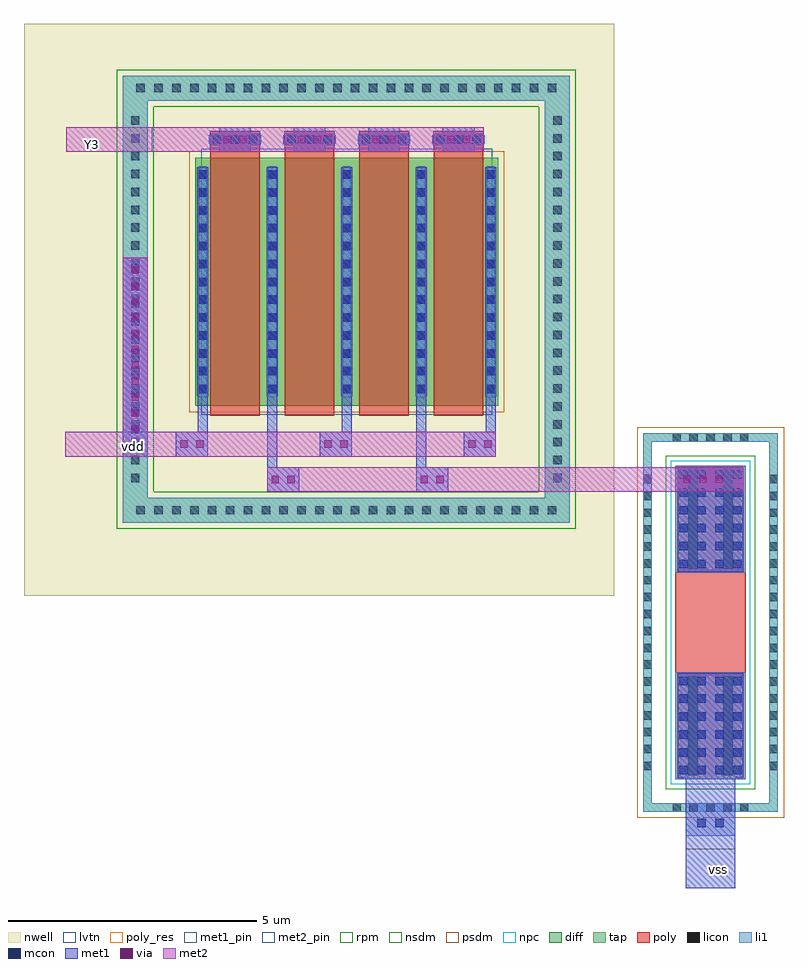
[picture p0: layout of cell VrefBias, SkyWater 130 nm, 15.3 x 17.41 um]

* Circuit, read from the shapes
.subckt VrefBias Y3 vdd vss
XM1 n1 Y3 vdd vdd sky130_fd_pr__pfet_01v8_lvt w=5 l=1 m=4
XR2 n1 vss vss sky130_fd_pr__res_high_po w=1.41 l=2
.ends

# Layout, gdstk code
from math import pi, radians
import gdstk
lib = gdstk.Library(unit=1e-6, precision=5e-09)
def R(c, l, rs):  # rectangles x0, y0, x1, y1
    for r in rs: c.add(gdstk.rectangle(r[:2], r[2:], *l))
def A(c, l, x, y, w, h, nx, ny, dx, dy):  # array of equal rectangles
    R(c, l, [(x+i*dx, y+j*dy, x+i*dx+w, y+j*dy+h) for i in range(nx) for j in range(ny)])
def P(c, l, *ps):  # polygons
    for p in ps: c.add(gdstk.Polygon(p, *l))
nwell = (64, 20)
diff = (65, 20)
tap = (65, 44)
poly_res = (66, 13)
poly = (66, 20)
licon = (66, 44)
li1 = (67, 20)
mcon = (67, 44)
met1_pin = (68, 16)
met1 = (68, 20)
via = (68, 44)
met2_pin = (69, 16)
met2 = (69, 20)
rpm = (86, 20)
nsdm = (93, 44)
psdm = (94, 20)
npc = (95, 20)
lvtn = (125, 44)

vias_gen = lib.new_cell('vias_gen')
R(vias_gen, met1, [(0,0,0.64,0.5)])
R(vias_gen, via, [(0.085,0.175,0.235,0.325), (0.405,0.175,0.555,0.325)])
R(vias_gen, met2, [(0,0,0.64,0.5)])

pfet = lib.new_cell('pfet')
R(pfet, nwell, [(-0.305,-0.38,6.405,5.72)])
R(pfet, diff, [(0,0,6.1,5)])
A(pfet, poly, 0.3, -0.2, 1, 5.4, 4, 1, 1.5, 0)
A(pfet, poly, 0.3, 5.2, 1, 0.33, 4, 1, 1.5, 0)
A(pfet, licon, 0.065, 0.255, 0.17, 0.17, 1, 13, 0, 0.36)
A(pfet, licon, 1.465, 0.255, 0.17, 0.17, 3, 13, 1.5, 0.36)
A(pfet, licon, 5.865, 0.255, 0.17, 0.17, 1, 13, 0, 0.36)
A(pfet, licon, 0.355, 5.28, 0.17, 0.17, 3, 1, 0.36, 0)
A(pfet, licon, 1.855, 5.28, 0.17, 0.17, 3, 1, 0.36, 0)
A(pfet, licon, 3.355, 5.28, 0.17, 0.17, 3, 1, 0.36, 0)
A(pfet, licon, 4.855, 5.28, 0.17, 0.17, 3, 1, 0.36, 0)
A(pfet, li1, 1.465, 0.175, 0.17, 4.65, 3, 1, 1.5, 0)
A(pfet, li1, 0.275, 5.28, 1.05, 0.17, 4, 1, 1.5, 0)
R(pfet, li1, [(0.065,0.175,0.235,4.825), (5.865,0.175,6.035,4.825)])
A(pfet, mcon, 0.065, 0.255, 0.17, 0.17, 1, 13, 0, 0.36)
A(pfet, mcon, 1.465, 0.255, 0.17, 0.17, 3, 13, 1.5, 0.36)
A(pfet, mcon, 5.865, 0.255, 0.17, 0.17, 1, 13, 0, 0.36)
A(pfet, mcon, 0.355, 5.28, 0.17, 0.17, 3, 1, 0.36, 0)
A(pfet, mcon, 1.855, 5.28, 0.17, 0.17, 3, 1, 0.36, 0)
A(pfet, mcon, 3.355, 5.28, 0.17, 0.17, 3, 1, 0.36, 0)
A(pfet, mcon, 4.855, 5.28, 0.17, 0.17, 3, 1, 0.36, 0)
A(pfet, met1, 1.435, 0.195, 0.23, 4.61, 3, 1, 1.5, 0)
A(pfet, met1, 0.295, 5.25, 1.01, 0.23, 4, 1, 1.5, 0)
R(pfet, met1, [(0.035,0.195,0.265,4.805), (5.835,0.195,6.065,4.805)])
R(pfet, psdm, [(-0.125,-0.125,6.225,5.125)])
A(pfet, npc, 0.29, 5.19, 1.02, 0.35, 4, 1, 1.5, 0)
R(pfet, lvtn, [(0.12,-0.18,5.98,5.18)])

vias_gen_3 = lib.new_cell('vias_gen$3')
R(vias_gen_3, li1, [(0,0,1,0.5)])
R(vias_gen_3, mcon, [(0.235,0.165,0.405,0.335), (0.595,0.165,0.765,0.335)])
R(vias_gen_3, met1, [(0,0,1,0.5)])

vias_gen_2 = lib.new_cell('vias_gen$2')
R(vias_gen_2, met1, [(0,0,1,0.5)])
A(vias_gen_2, via, 0.105, 0.175, 0.15, 0.15, 3, 1, 0.32, 0)
R(vias_gen_2, met2, [(0,0,1,0.5)])

res_poly = lib.new_cell('res_poly')
R(res_poly, tap, [(-1.355,-3.81,1.355,-3.64), (-1.355,-3.64,-1.185,3.64), (1.185,-3.64,1.355,3.64), (-1.355,3.64,1.355,3.81)])
R(res_poly, poly_res, [(-0.705,-1.06,0.705,1.06)])
R(res_poly, poly, [(-0.705,-3.16,0.705,3.16)])
A(res_poly, licon, -0.765, -3.81, 0.17, 0.17, 5, 2, 0.34, 7.45)
A(res_poly, licon, -1.355, -2.975, 0.17, 0.17, 1, 18, 0, 0.34)
A(res_poly, licon, 1.185, -2.975, 0.17, 0.17, 1, 18, 0, 0.34)
R(res_poly, licon, [(-0.45,-3.08,-0.26,-1.08), (0.26,-3.08,0.45,-1.08), (-0.45,1.08,-0.26,3.08), (0.26,1.08,0.45,3.08)])
R(res_poly, li1, [(-1.355,-3.81,1.355,-3.64), (-1.355,-3.64,-1.185,3.64), (1.185,-3.64,1.355,3.64), (-0.705,-3.16,0.705,-1), (-0.705,1,0.705,3.16), (-1.355,3.64,1.355,3.81)])
A(res_poly, mcon, -0.625, -3.06, 0.17, 0.17, 4, 6, 0.36, 0.36)
A(res_poly, mcon, -0.625, 1.095, 0.17, 0.17, 4, 6, 0.36, 0.36)
R(res_poly, met1, [(-0.655,-3.13,0.655,-1.025), (-0.655,1.025,0.655,3.13)])
R(res_poly, rpm, [(-0.905,-3.36,0.905,3.36)])
R(res_poly, psdm, [(-1.48,-3.935,1.48,3.935)])
R(res_poly, npc, [(-0.8,-3.255,0.8,3.255)])

guard_ring_gen = lib.new_cell('guard_ring_gen')
P(guard_ring_gen, tap, [(-0.5,-0.5),(-0.5,8),(0,8),(0,0),(8,0),(8,8),(-0.5,8),(-0.5,8.5),(8.5,8.5),(8.5,-0.5)])
A(guard_ring_gen, licon, -0.225, -0.335, 0.17, 0.17, 24, 2, 0.36, 8.5)
A(guard_ring_gen, licon, -0.335, 0.315, 0.17, 0.17, 1, 21, 0, 0.36)
A(guard_ring_gen, licon, 8.165, 0.315, 0.17, 0.17, 1, 21, 0, 0.36)
P(guard_ring_gen, li1, [(-0.5,-0.5),(-0.5,8),(0,8),(0,0),(8,0),(8,8),(-0.5,8),(-0.5,8.5),(8.5,8.5),(8.5,-0.5)])
P(guard_ring_gen, nsdm, [(-0.625,-0.625),(-0.625,7.875),(0.125,7.875),(0.125,0.125),(7.875,0.125),(7.875,7.875),(-0.625,7.875),(-0.625,8.625),(8.625,8.625),(8.625,-0.625)])

vias_gen_4 = lib.new_cell('vias_gen$4')
R(vias_gen_4, li1, [(0,0,4,0.5)])
A(vias_gen_4, mcon, 0.115, 0.165, 0.17, 0.17, 11, 1, 0.36, 0)
R(vias_gen_4, met1, [(0,0,4,0.5)])
A(vias_gen_4, via, 0.165, 0.175, 0.15, 0.15, 12, 1, 0.32, 0)
R(vias_gen_4, met2, [(0,0,4,0.5)])

vrefbias = lib.new_cell('VrefBias')
R(vrefbias, nwell, [(7.285,8.28,19.17,19.8)])
R(vrefbias, met1_pin, [(20.61,2.385,21.61,3.185)])
R(vrefbias, met2_pin, [(8.12,11.08,9.9,11.58), (8.14,17.215,9.865,17.715)])
vrefbias.add(gdstk.FlexPath([(16.545,17.465),(10.175,17.465),(8.14,17.465)], 0.5, ends="flush", simple_path=True, layer=69, datatype=20))  # met2
vrefbias.add(gdstk.FlexPath([(21.765,10.62),(12.42,10.62),(12.185,10.62)], 0.5, ends="flush", simple_path=True, layer=69, datatype=20))  # met2
vrefbias.add(gdstk.FlexPath([(16.785,11.33),(8.12,11.33)], 0.5, ends="flush", simple_path=True, layer=69, datatype=20))  # met2
vrefbias.add(gdstk.FlexPath([(10.885,16.905),(10.885,11.08)], 0.2, ends="flush", simple_path=True, layer=68, datatype=20))  # met1
vrefbias.add(gdstk.FlexPath([(13.785,16.905),(13.785,11.08)], 0.2, ends="flush", simple_path=True, layer=68, datatype=20))  # met1
vrefbias.add(gdstk.FlexPath([(21.11,6.25),(21.11,2.385)], 1, ends="flush", simple_path=True, layer=68, datatype=20))  # met1
vrefbias.add(gdstk.FlexPath([(16.685,16.905),(16.685,11.08)], 0.2, ends="flush", simple_path=True, layer=68, datatype=20))  # met1
vrefbias.add(gdstk.FlexPath([(12.285,16.905),(12.285,10.37)], 0.2, ends="flush", simple_path=True, layer=68, datatype=20))  # met1
vrefbias.add(gdstk.FlexPath([(15.285,16.905),(15.285,10.37)], 0.2, ends="flush", simple_path=True, layer=68, datatype=20))  # met1
vrefbias.add(gdstk.Reference(vias_gen, (11.215,17.215)))
vrefbias.add(gdstk.Reference(pfet, (10.735,12.1)))
vrefbias.add(gdstk.Reference(vias_gen, (12.715,17.215)))
vrefbias.add(gdstk.Reference(vias_gen, (14.215,17.215)))
vrefbias.add(gdstk.Reference(vias_gen, (15.72,17.215)))
vrefbias.add(gdstk.Reference(vias_gen, (10.345,11.08)))
vrefbias.add(gdstk.Reference(vias_gen, (13.245,11.08)))
vrefbias.add(gdstk.Reference(vias_gen, (16.145,11.08)))
vrefbias.add(gdstk.Reference(vias_gen_3, (20.61,3.45)))
vrefbias.add(gdstk.Reference(vias_gen_2, (20.46,10.37)))
vrefbias.add(gdstk.Reference(res_poly, (21.11,7.74)))
vrefbias.add(gdstk.Reference(vias_gen, (12.185,10.37)))
vrefbias.add(gdstk.Reference(vias_gen, (15.185,10.37)))
vrefbias.add(gdstk.Reference(guard_ring_gen, (9.775,10.25)))
vrefbias.add(gdstk.Reference(vias_gen_4, (9.275,15.08), rotation=3*pi/2))
vrefbias.add(gdstk.Label('vss', (21.28,2.77), layer=68, texttype=16))
vrefbias.add(gdstk.Label('vdd', (9.49,11.285), layer=69, texttype=16))
vrefbias.add(gdstk.Label('Y3', (8.67,17.37), layer=69, texttype=16))

lib.write_gds('VrefBias.gds')
